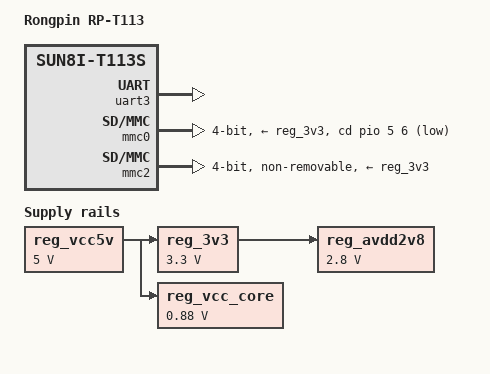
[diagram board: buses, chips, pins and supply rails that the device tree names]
// SPDX-License-Identifier: (GPL-2.0+ or MIT)
// Copyright (C) 2022 Arm Ltd.

#include <dt-bindings/interrupt-controller/irq.h>
#include <dt-bindings/gpio/gpio.h>

/dts-v1/;

#include "sun8i-t113s.dtsi"
//#include "sunxi-d1s-t113-mangopi-mq-r.dtsi"

/ {
	model = "Rongpin RP-T113";
	compatible = "rongpin,rp-t113", "allwinner,sun8i-t113s";

	aliases {
		serial3 = &uart3;
	};

	chosen {
		stdout-path = "serial3:115200n8";
	};

	/* board wide 5V supply directly from the USB-C socket */
	reg_vcc5v: regulator-5v {
		compatible = "regulator-fixed";
		regulator-name = "vcc-5v";
		regulator-min-microvolt = <5000000>;
		regulator-max-microvolt = <5000000>;
		regulator-always-on;
	};

	/* SY8008 DC/DC regulator on the board */
	reg_3v3: regulator-3v3 {
		compatible = "regulator-fixed";
		regulator-name = "vcc-3v3";
		regulator-min-microvolt = <3300000>;
		regulator-max-microvolt = <3300000>;
		vin-supply = <&reg_vcc5v>;
	};

	/* SY8008 DC/DC regulator on the board, also supplying VDD-SYS */
	reg_vcc_core: regulator-core {
		compatible = "regulator-fixed";
		regulator-name = "vcc-core";
		regulator-min-microvolt = <880000>;
		regulator-max-microvolt = <880000>;
		vin-supply = <&reg_vcc5v>;
	};

	/* XC6206 LDO on the board */
	reg_avdd2v8: regulator-avdd {
		compatible = "regulator-fixed";
		regulator-name = "avdd2v8";
		regulator-min-microvolt = <2800000>;
		regulator-max-microvolt = <2800000>;
		vin-supply = <&reg_3v3>;
	};
};

&cpu0 {
	cpu-supply = <&reg_vcc_core>;
};

&cpu1 {
	cpu-supply = <&reg_vcc_core>;
};

&pio {
	vcc-pb-supply = <&reg_3v3>;
	vcc-pd-supply = <&reg_3v3>;
	vcc-pe-supply = <&reg_avdd2v8>;
	vcc-pf-supply = <&reg_3v3>;
	vcc-pg-supply = <&reg_3v3>;
};

&uart3 {
	pinctrl-names = "default";
	pinctrl-0 = <&uart3_pe_pins>;
	status = "okay";
};

&mmc0 {
	pinctrl-0 = <&mmc0_pins>;
	pinctrl-names = "default";
	vmmc-supply = <&reg_3v3>;
	cd-gpios = <&pio 5 6 GPIO_ACTIVE_LOW>;
	disable-wp;
	bus-width = <4>;
	status = "okay";
};

&mmc2 {
	pinctrl-0 = <&mmc2_pins>;
	pinctrl-names = "default";
	vmmc-supply = <&reg_3v3>;
	non-removable;
	bus-width = <4>;
	status = "okay";
};
